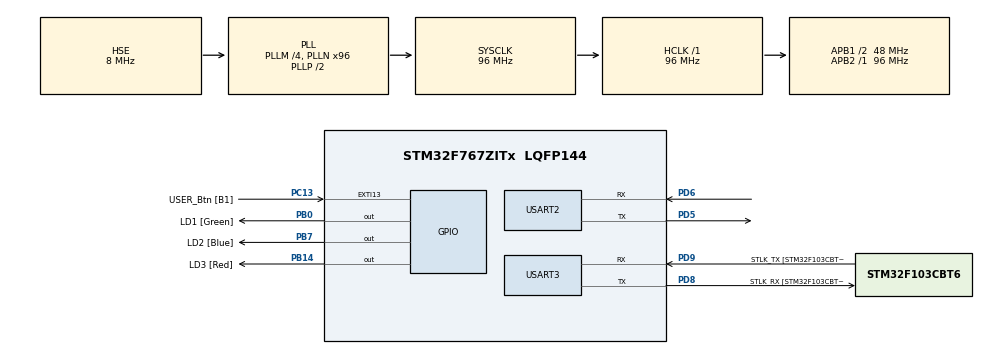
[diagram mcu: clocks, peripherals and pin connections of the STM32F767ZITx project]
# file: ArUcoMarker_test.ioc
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CORTEX_M7.default_mode_Activation=1
Dma.Request0=USART2_RX
Dma.USART2_RX.0.Direction=DMA_PERIPH_TO_MEMORY
Dma.USART2_RX.0.FIFOMode=DMA_FIFOMODE_DISABLE
Dma.USART2_RX.0.Instance=DMA1_Stream5
Dma.USART2_RX.0.MemDataAlignment=DMA_MDATAALIGN_BYTE
Dma.USART2_RX.0.MemInc=DMA_MINC_ENABLE
Dma.USART2_RX.0.Mode=DMA_CIRCULAR
Dma.USART2_RX.0.PeriphDataAlignment=DMA_PDATAALIGN_BYTE
Dma.USART2_RX.0.PeriphInc=DMA_PINC_DISABLE
Dma.USART2_RX.0.Priority=DMA_PRIORITY_VERY_HIGH
Mcu.Family=STM32F7
Mcu.Name=STM32F767ZITx
Mcu.Package=LQFP144
NVIC.DMA1_Stream5_IRQn=true\:0\:0\:false\:false\:true\:false\:true\:true
NVIC.PriorityGroup=NVIC_PRIORITYGROUP_4
NVIC.USART2_IRQn=true\:0\:0\:false\:false\:true\:true\:true\:true
NVIC.USART3_IRQn=true\:0\:0\:false\:false\:true\:true\:true\:true
PA13.GPIO_Label=TMS
PA13.Mode=Serial_Wire
PA13.Signal=SYS_JTMS-SWDIO
PA14.GPIO_Label=TCK
PA14.Mode=Serial_Wire
PA14.Signal=SYS_JTCK-SWCLK
PB0.GPIO_Label=LD1 [Green]
PB0.Signal=GPIO_Output
PB14.GPIO_Label=LD3 [Red]
PB14.Signal=GPIO_Output
PB3.GPIO_Label=SWO
PB3.Signal=SYS_JTDO-SWO
PB7.GPIO_Label=LD2 [Blue]
PB7.Signal=GPIO_Output
PC13.GPIO_Label=USER_Btn [B1]
PC13.Signal=GPXTI13
PC14/OSC32_IN.Mode=LSE-External-Oscillator
PC14/OSC32_IN.Signal=RCC_OSC32_IN
PC15/OSC32_OUT.Mode=LSE-External-Oscillator
PC15/OSC32_OUT.Signal=RCC_OSC32_OUT
PD5.Mode=Asynchronous
PD5.Signal=USART2_TX
PD6.Mode=Asynchronous
PD6.Signal=USART2_RX
PD8.GPIO_Label=STLK_RX [STM32F103CBT6_PA3]
PD8.Mode=Asynchronous
PD8.Signal=USART3_TX
PD9.GPIO_Label=STLK_TX [STM32F103CBT6_PA2]
PD9.Mode=Asynchronous
PD9.Signal=USART3_RX
PH0/OSC_IN.GPIO_Label=MCO [STM32F103CBT6_PA8]
PH0/OSC_IN.Mode=HSE-External-Clock-Source
PH0/OSC_IN.Signal=RCC_OSC_IN
PH1/OSC_OUT.Mode=HSE-External-Clock-Source
PH1/OSC_OUT.Signal=RCC_OSC_OUT
ProjectManager.HeapSize=0x200
ProjectManager.StackSize=0x400
ProjectManager.TargetToolchain=STM32CubeIDE
RCC.48MHZClocksFreq_Value=24000000
RCC.AHBFreq_Value=96000000
RCC.APB1CLKDivider=RCC_HCLK_DIV2
RCC.APB1Freq_Value=48000000
RCC.APB1TimFreq_Value=96000000
RCC.APB2Freq_Value=96000000
RCC.APB2TimFreq_Value=96000000
RCC.CortexFreq_Value=96000000
RCC.HCLKFreq_Value=96000000
RCC.HSE_VALUE=8000000
RCC.HSI_VALUE=16000000
RCC.PLLM=4
RCC.PLLMUL=RCC_PLL_MUL9
RCC.PLLN=96
RCC.PLLQ=4
RCC.PLLSourceVirtual=RCC_PLLSOURCE_HSE
RCC.PRESCALERUSB=RCC_USBCLKSOURCE_PLL_DIV1_5
RCC.SYSCLKFreq_VALUE=96000000
RCC.SYSCLKSource=RCC_SYSCLKSOURCE_PLLCLK
RCC.SYSCLKSourceVirtual=RCC_SYSCLKSOURCE_PLLCLK
RCC.USBFreq_Value=48000000
RCC.VCOOutputFreq_Value=192000000
USART2.VirtualMode-Asynchronous=VM_ASYNC
USART3.VirtualMode-Asynchronous=VM_ASYNC
board=NUCLEO-F767ZI

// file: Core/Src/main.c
/* USER CODE BEGIN Header */
/**
  ******************************************************************************
  * @file           : main.c
  * @brief          : Main program body
  ******************************************************************************
  * @attention
  *
  * Copyright (c) 2026 STMicroelectronics.
  * All rights reserved.
  *
  * This software is licensed under terms that can be found in the LICENSE file
  * in the root directory of this software component.
  * If no LICENSE file comes with this software, it is provided AS-IS.
  *
  ******************************************************************************
  */
/* USER CODE END Header */
#include "main.h"

/* USER CODE BEGIN Includes */
#include <stdio.h>
#include <stdlib.h>
#include <string.h>
#include <math.h>
/* USER CODE END Includes */

/* USER CODE BEGIN PD */
/* ── 수신 명령 코드 (RPi → STM32) ── */
#define CMD_FORWARD       0x01
#define CMD_STOP          0x02
#define CMD_LIFT_UP       0x03
#define CMD_LIFT_DOWN     0x04
#define CMD_ROTATE_LEFT   0x05
#define CMD_ROTATE_RIGHT  0x06
#define CMD_ROTATE_180    0x07

/* ── 송신 이벤트 코드 (STM32 → RPi) ── */
#define EVT_DONE  0x81  /* 동작 완료 (forward 제외 — ArUco로 감지) */
#define EVT_ACK   0xFF  /* 명령 수신 확인 */

#define ArUcoMarker_RxBuf_SIZE		19
/* USER CODE END PD */

UART_HandleTypeDef huart2;
UART_HandleTypeDef huart3;
DMA_HandleTypeDef hdma_usart2_rx;

/* USER CODE BEGIN PV */
uint8_t command;
uint8_t ArUcoMarker_RxBuf[ArUcoMarker_RxBuf_SIZE];
int agv_x, agv_y, agv_yaw;

uint8_t usart2_it_flag = 0;
uint8_t usart2_dma_flag = 0;
/* USER CODE END PV */

void SystemClock_Config(void);
static void MPU_Config(void);
static void MX_GPIO_Init(void);
static void MX_DMA_Init(void);
static void MX_USART2_UART_Init(void);
static void MX_USART3_UART_Init(void);

/* USER CODE BEGIN 0 */
int _write(int file, char *ptr, int len)
{
    HAL_UART_Transmit(&huart3, (uint8_t*) ptr, len, HAL_MAX_DELAY);
    return len;
}

int ArUcoMarker_Data_Parsing(const uint8_t* buf)
{
	int data = 0;

	if (buf[0] == '+' || buf[0] == '-')
	{
		data = (buf[1] - '0') * 1000 + (buf[2] - '0') * 100
				+ (buf[3] - '0') * 10 + (buf[4] - '0');

		if (buf[0] == '-') data *= -1;
	}

	return data;
}
/* USER CODE END 0 */

int main(void)
{

  /* MPU Configuration--------------------------------------------------------*/
  MPU_Config();

  /* MCU Configuration--------------------------------------------------------*/

  /* Reset of all peripherals, Initializes the Flash interface and the Systick. */
  HAL_Init();

  /* Configure the system clock */
  SystemClock_Config();

  /* Initialize all configured peripherals */
  MX_GPIO_Init();
  MX_DMA_Init();
  MX_USART2_UART_Init();
  MX_USART3_UART_Init();
  /* USER CODE BEGIN 2 */
  HAL_UART_Receive_IT(&huart2, command, 1);

  HAL_UARTEx_ReceiveToIdle_DMA(&huart2, ArUcoMarker_RxBuf, ArUcoMarker_RxBuf_SIZE);
  __HAL_DMA_DISABLE_IT(&hdma_usart2_rx, DMA_IT_HT);
  /* USER CODE END 2 */

  /* Infinite loop */
  /* USER CODE BEGIN WHILE */
  while (1)
  {
	  if (usart2_it_flag)
	  {
		  usart2_it_flag = 0;
		  printf("command = %d\r\n", command);
	  }
	  if (usart2_dma_flag)
	  {
		  usart2_dma_flag = 0;

		  printf("%s\r\n", ArUcoMarker_RxBuf);

		  agv_x = ArUcoMarker_Data_Parsing(&ArUcoMarker_RxBuf[1]);
		  agv_y = ArUcoMarker_Data_Parsing(&ArUcoMarker_RxBuf[7]);
		  agv_yaw = ArUcoMarker_Data_Parsing(&ArUcoMarker_RxBuf[13]);

		  printf("agv_x = %d, agv_y = %d, agv_yaw = %d\r\n"
				  , agv_x, agv_y, agv_yaw);
	  }
    /* USER CODE END WHILE */

  }
}

void SystemClock_Config(void)
{
  RCC_OscInitTypeDef RCC_OscInitStruct = {0};
  RCC_ClkInitTypeDef RCC_ClkInitStruct = {0};

  /** Configure LSE Drive Capability
  */
  HAL_PWR_EnableBkUpAccess();

  /** Configure the main internal regulator output voltage
  */
  __HAL_RCC_PWR_CLK_ENABLE();
  __HAL_PWR_VOLTAGESCALING_CONFIG(PWR_REGULATOR_VOLTAGE_SCALE3);

  /** Initializes the RCC Oscillators according to the specified parameters
  * in the RCC_OscInitTypeDef structure.
  */
  RCC_OscInitStruct.OscillatorType = RCC_OSCILLATORTYPE_HSE;
  RCC_OscInitStruct.HSEState = RCC_HSE_BYPASS;
  RCC_OscInitStruct.PLL.PLLState = RCC_PLL_ON;
  RCC_OscInitStruct.PLL.PLLSource = RCC_PLLSOURCE_HSE;
  RCC_OscInitStruct.PLL.PLLM = 4;
  RCC_OscInitStruct.PLL.PLLN = 96;
  RCC_OscInitStruct.PLL.PLLP = RCC_PLLP_DIV2;
  RCC_OscInitStruct.PLL.PLLQ = 4;
  RCC_OscInitStruct.PLL.PLLR = 2;
  if (HAL_RCC_OscConfig(&RCC_OscInitStruct) != HAL_OK)
  {
    Error_Handler();
  }

  /** Activate the Over-Drive mode
  */
  if (HAL_PWREx_EnableOverDrive() != HAL_OK)
  {
    Error_Handler();
  }

  /** Initializes the CPU, AHB and APB buses clocks
  */
  RCC_ClkInitStruct.ClockType = RCC_CLOCKTYPE_HCLK|RCC_CLOCKTYPE_SYSCLK
                              |RCC_CLOCKTYPE_PCLK1|RCC_CLOCKTYPE_PCLK2;
  RCC_ClkInitStruct.SYSCLKSource = RCC_SYSCLKSOURCE_PLLCLK;
  RCC_ClkInitStruct.AHBCLKDivider = RCC_SYSCLK_DIV1;
  RCC_ClkInitStruct.APB1CLKDivider = RCC_HCLK_DIV2;
  RCC_ClkInitStruct.APB2CLKDivider = RCC_HCLK_DIV1;

  if (HAL_RCC_ClockConfig(&RCC_ClkInitStruct, FLASH_LATENCY_3) != HAL_OK)
  {
    Error_Handler();
  }
}

static void MX_USART2_UART_Init(void)
{

  huart2.Instance = USART2;
  huart2.Init.BaudRate = 115200;
  huart2.Init.WordLength = UART_WORDLENGTH_8B;
  huart2.Init.StopBits = UART_STOPBITS_1;
  huart2.Init.Parity = UART_PARITY_NONE;
  huart2.Init.Mode = UART_MODE_TX_RX;
  huart2.Init.HwFlowCtl = UART_HWCONTROL_NONE;
  huart2.Init.OverSampling = UART_OVERSAMPLING_16;
  huart2.Init.OneBitSampling = UART_ONE_BIT_SAMPLE_DISABLE;
  huart2.AdvancedInit.AdvFeatureInit = UART_ADVFEATURE_NO_INIT;
  if (HAL_UART_Init(&huart2) != HAL_OK)
  {
    Error_Handler();
  }

}

static void MX_USART3_UART_Init(void)
{

  huart3.Instance = USART3;
  huart3.Init.BaudRate = 115200;
  huart3.Init.WordLength = UART_WORDLENGTH_8B;
  huart3.Init.StopBits = UART_STOPBITS_1;
  huart3.Init.Parity = UART_PARITY_NONE;
  huart3.Init.Mode = UART_MODE_TX_RX;
  huart3.Init.HwFlowCtl = UART_HWCONTROL_NONE;
  huart3.Init.OverSampling = UART_OVERSAMPLING_16;
  huart3.Init.OneBitSampling = UART_ONE_BIT_SAMPLE_DISABLE;
  huart3.AdvancedInit.AdvFeatureInit = UART_ADVFEATURE_NO_INIT;
  if (HAL_UART_Init(&huart3) != HAL_OK)
  {
    Error_Handler();
  }

}

static void MX_DMA_Init(void)
{

  /* DMA controller clock enable */
  __HAL_RCC_DMA1_CLK_ENABLE();

  /* DMA interrupt init */
  /* DMA1_Stream5_IRQn interrupt configuration */
  HAL_NVIC_SetPriority(DMA1_Stream5_IRQn, 0, 0);
  HAL_NVIC_EnableIRQ(DMA1_Stream5_IRQn);

}

static void MX_GPIO_Init(void)
{
  GPIO_InitTypeDef GPIO_InitStruct = {0};

  /* GPIO Ports Clock Enable */
  __HAL_RCC_GPIOC_CLK_ENABLE();
  __HAL_RCC_GPIOH_CLK_ENABLE();
  __HAL_RCC_GPIOB_CLK_ENABLE();
  __HAL_RCC_GPIOD_CLK_ENABLE();
  __HAL_RCC_GPIOA_CLK_ENABLE();

  /*Configure GPIO pin Output Level */
  HAL_GPIO_WritePin(GPIOB, LD1_Pin|LD3_Pin|LD2_Pin, GPIO_PIN_RESET);

  /*Configure GPIO pin : USER_Btn_Pin */
  GPIO_InitStruct.Pin = USER_Btn_Pin;
  GPIO_InitStruct.Mode = GPIO_MODE_IT_RISING;
  GPIO_InitStruct.Pull = GPIO_NOPULL;
  HAL_GPIO_Init(USER_Btn_GPIO_Port, &GPIO_InitStruct);

  /*Configure GPIO pins : LD1_Pin LD3_Pin LD2_Pin */
  GPIO_InitStruct.Pin = LD1_Pin|LD3_Pin|LD2_Pin;
  GPIO_InitStruct.Mode = GPIO_MODE_OUTPUT_PP;
  GPIO_InitStruct.Pull = GPIO_NOPULL;
  GPIO_InitStruct.Speed = GPIO_SPEED_FREQ_LOW;
  HAL_GPIO_Init(GPIOB, &GPIO_InitStruct);

}

/* USER CODE BEGIN 4 */
void HAL_UART_RxCpltCallback(UART_HandleTypeDef *huart)
{
	if (huart->Instance == USART2)
	{
		usart_it_flag = 1;
		HAL_UART_Receive_IT(&huart2, &command, 1);
	}

	if (huart->Instance == USART3)
	{
		HAL_UART_Receive_IT(&huart3, &command, 1);
	}
}

void HAL_UARTEx_RxEventCallback(UART_HandleTypeDef *huart, uint16_t Size)
{
	if (huart->Instance == USART2)
	{
		if (Size == ArUcoMarker_RxBuf_SIZE && ArUcoMarker_RxBuf[0] == '<' && ArUcoMarker_RxBuf[18] == '>')
		{
			usart2_dma_flag = 1;
		}
		else
		{
			HAL_UART_DMAStop(&huart2);
			HAL_UARTEx_ReceiveToIdle_DMA(&huart2, ArUcoMarker_RxBuf, ArUcoMarker_RxBuf_SIZE);
			__HAL_DMA_DISABLE_IT(&hdma_usart2_rx, DMA_IT_HT);
		}
	}
}

void HAL_UART_ErrorCallback(UART_HandleTypeDef *huart)
{
    if (huart->Instance == USART2)
    {
    	__HAL_UART_CLEAR_OREFLAG(huart);
    	__HAL_UART_CLEAR_NEFLAG(huart);
    	__HAL_UART_CLEAR_FEFLAG(huart);

		HAL_UART_DMAStop(&huart2);
		HAL_UARTEx_ReceiveToIdle_DMA(&huart2, ArUcoMarker_RxBuf, ArUcoMarker_RxBuf_SIZE);
		__HAL_DMA_DISABLE_IT(&hdma_usart2_rx, DMA_IT_HT);
    }
}
/* USER CODE END 4 */

 /* MPU Configuration */

void MPU_Config(void)
{
  MPU_Region_InitTypeDef MPU_InitStruct = {0};

  /* Disables the MPU */
  HAL_MPU_Disable();

  /** Initializes and configures the Region and the memory to be protected
  */
  MPU_InitStruct.Enable = MPU_REGION_ENABLE;
  MPU_InitStruct.Number = MPU_REGION_NUMBER0;
  MPU_InitStruct.BaseAddress = 0x0;
  MPU_InitStruct.Size = MPU_REGION_SIZE_4GB;
  MPU_InitStruct.SubRegionDisable = 0x87;
  MPU_InitStruct.TypeExtField = MPU_TEX_LEVEL0;
  MPU_InitStruct.AccessPermission = MPU_REGION_NO_ACCESS;
  MPU_InitStruct.DisableExec = MPU_INSTRUCTION_ACCESS_DISABLE;
  MPU_InitStruct.IsShareable = MPU_ACCESS_SHAREABLE;
  MPU_InitStruct.IsCacheable = MPU_ACCESS_NOT_CACHEABLE;
  MPU_InitStruct.IsBufferable = MPU_ACCESS_NOT_BUFFERABLE;

  HAL_MPU_ConfigRegion(&MPU_InitStruct);
  /* Enables the MPU */
  HAL_MPU_Enable(MPU_PRIVILEGED_DEFAULT);

}

void Error_Handler(void)
{
  __disable_irq();
  while (1)
  {
  }
}
